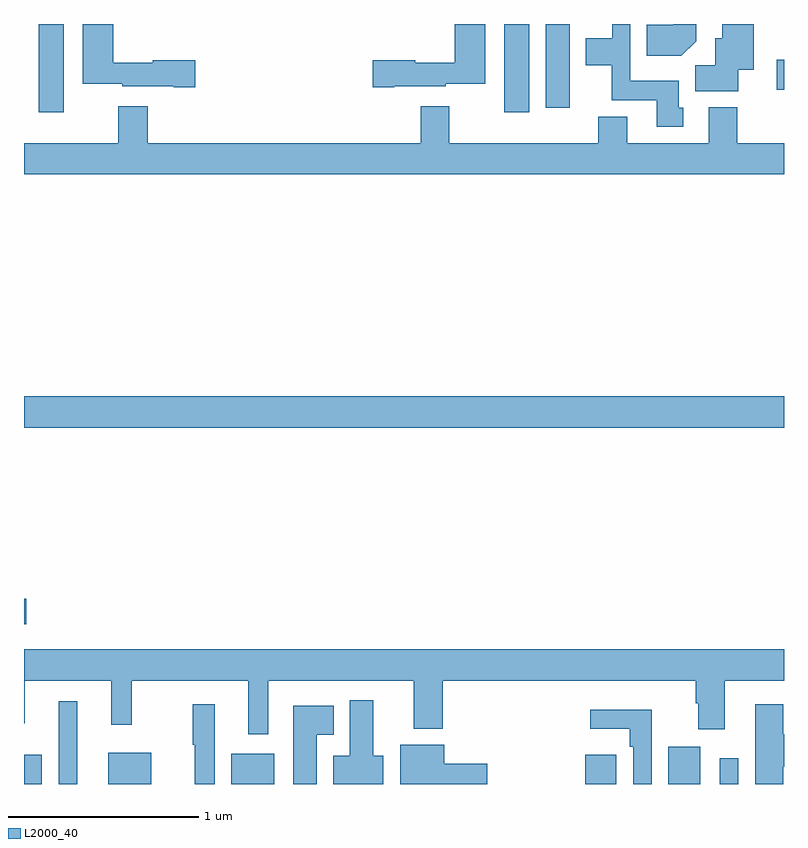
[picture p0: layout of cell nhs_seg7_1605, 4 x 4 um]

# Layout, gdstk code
import gdstk
lib = gdstk.Library(unit=1e-6, precision=1e-09)
def R(c, l, rs):  # rectangles x0, y0, x1, y1
    for r in rs: c.add(gdstk.rectangle(r[:2], r[2:], *l))
def P(c, l, *ps):  # polygons
    for p in ps: c.add(gdstk.Polygon(p, *l))
L2000_40 = (2000, 40)

nhs_seg7_1605 = lib.new_cell('nhs_seg7_1605')
R(nhs_seg7_1605, L2000_40, [(219,1072,219.094,1072.153), (219.183,1072,219.28,1072.435), (219.443,1072,219.67,1072.165), (220.091,1072,220.318,1072.159), (221.954,1072,222.118,1072.153), (222.392,1072,222.559,1072.195), (222.663,1072,222.759,1072.135), (219,1072.841,219.013,1072.976), (219,1073.876,223,1074.04), (219.077,1075.536,219.208,1076), (221.528,1075.536,221.659,1076), (221.747,1075.56,221.872,1076), (222.963,1075.655,223,1075.813)])
P(nhs_seg7_1605, L2000_40, [(222.538,1075.91),(222.538,1076),(222.416,1076),(222.416,1075.996),(222.277,1075.996),(222.277,1075.832),(222.46,1075.832)],
  [(222.76,1075.76),(222.84,1075.76),(222.84,1076),(222.674,1076),(222.674,1075.924),(222.638,1075.924),(222.638,1075.784),(222.533,1075.784),(222.533,1075.646),(222.76,1075.646)],
  [(222.469,1075.56),(222.445,1075.56),(222.445,1075.702),(222.192,1075.702),(222.192,1076),(222.096,1076),(222.096,1075.924),(221.957,1075.924),(221.957,1075.784),(222.094,1075.784),(222.094,1075.598),(222.329,1075.598),(222.329,1075.458),(222.469,1075.458)],
  [(219.901,1075.808),(219.678,1075.808),(219.678,1075.795),(219.47,1075.795),(219.47,1075.999),(219.308,1075.999),(219.308,1075.685),(219.516,1075.685),(219.516,1075.673),(219.788,1075.673),(219.788,1075.666),(219.901,1075.666)],
  [(220.948,1075.673),(221.22,1075.673),(221.22,1075.685),(221.428,1075.685),(221.428,1075.999),(221.266,1075.999),(221.266,1075.795),(221.058,1075.795),(221.058,1075.808),(220.836,1075.808),(220.836,1075.666),(220.948,1075.666)],
  [(219.497,1075.567),(219.497,1075.372),(219,1075.372),(219,1075.208),(223,1075.208),(223,1075.372),(222.753,1075.372),(222.753,1075.561),(222.605,1075.561),(222.605,1075.372),(222.175,1075.372),(222.175,1075.513),(222.023,1075.513),(222.023,1075.372),(221.239,1075.372),(221.239,1075.567),(221.087,1075.567),(221.087,1075.372),(219.65,1075.372),(219.65,1075.567)],
  [(220.285,1072.544),(221.051,1072.544),(221.051,1072.292),(221.204,1072.292),(221.204,1072.544),(222.536,1072.544),(222.536,1072.424),(222.548,1072.424),(222.548,1072.287),(222.688,1072.287),(222.688,1072.544),(223,1072.544),(223,1072.708),(219,1072.708),(219,1072.319),(219.005,1072.319),(219.005,1072.544),(219.458,1072.544),(219.458,1072.311),(219.568,1072.311),(219.568,1072.544),(220.181,1072.544),(220.181,1072.263),(220.285,1072.263)],
  [(220.891,1072.15),(220.837,1072.15),(220.837,1072.441),(220.715,1072.441),(220.715,1072.15),(220.628,1072.15),(220.628,1072),(220.891,1072)],
  [(220.003,1072.42),(219.889,1072.42),(219.889,1072.207),(219.899,1072.207),(219.899,1072),(220.003,1072)],
  [(222.995,1072.091),(223,1072.091),(223,1072.261),(222.995,1072.261),(222.995,1072.42),(222.848,1072.42),(222.848,1072),(222.995,1072)],
  [(220.54,1072.259),(220.63,1072.259),(220.63,1072.411),(220.418,1072.411),(220.418,1072),(220.54,1072)],
  [(222.303,1072.39),(221.979,1072.39),(221.979,1072.292),(222.187,1072.292),(222.187,1072.196),(222.207,1072.196),(222.207,1072),(222.303,1072)],
  [(221.437,1072.107),(221.212,1072.107),(221.212,1072.207),(220.979,1072.207),(220.979,1072),(221.437,1072)])

lib.write_gds('nhs_seg7_1605.gds')
